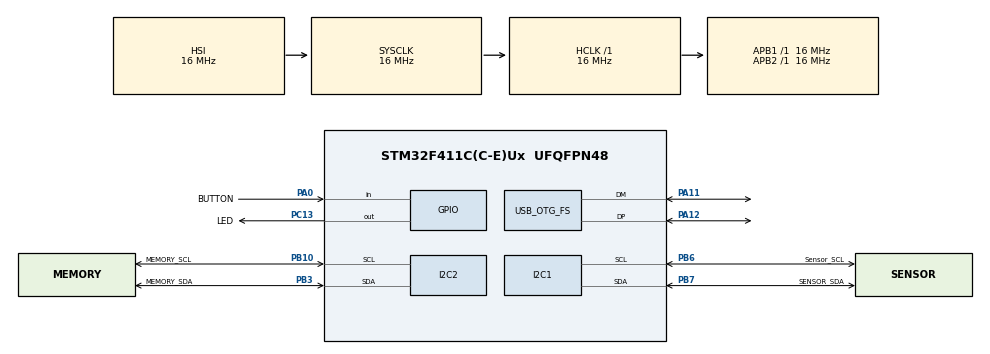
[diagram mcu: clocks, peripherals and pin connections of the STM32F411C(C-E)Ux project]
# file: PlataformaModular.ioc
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FREERTOS.Tasks01=defaultTask,24,1024,StartDefaultTask,Default,NULL,Dynamic,NULL,NULL
IWDG.Prescaler=IWDG_PRESCALER_128
Mcu.Family=STM32F4
Mcu.Name=STM32F411C(C-E)Ux
Mcu.Package=UFQFPN48
NVIC.OTG_FS_IRQn=true\:5\:0\:false\:false\:true\:true\:false\:true\:true
NVIC.PriorityGroup=NVIC_PRIORITYGROUP_4
PA0-WKUP.GPIO_Label=BUTTON
PA0-WKUP.GPIO_PuPd=GPIO_PULLUP
PA0-WKUP.Signal=GPIO_Input
PA11.Mode=Device_Only
PA11.Signal=USB_OTG_FS_DM
PA12.Mode=Device_Only
PA12.Signal=USB_OTG_FS_DP
PA13.Mode=Serial_Wire
PA13.Signal=SYS_JTMS-SWDIO
PA14.Mode=Serial_Wire
PA14.Signal=SYS_JTCK-SWCLK
PB10.GPIO_Label=MEMORY_SCL
PB10.Mode=I2C
PB10.Signal=I2C2_SCL
PB3.GPIO_Label=MEMORY_SDA
PB3.Mode=I2C
PB3.Signal=I2C2_SDA
PB6.GPIO_Label=Sensor_SCL
PB6.Mode=I2C
PB6.Signal=I2C1_SCL
PB7.GPIO_Label=SENSOR_SDA
PB7.Mode=I2C
PB7.Signal=I2C1_SDA
PC13-ANTI_TAMP.GPIO_Label=LED
PC13-ANTI_TAMP.Signal=GPIO_Output
PC14-OSC32_IN.Mode=LSE-External-Oscillator
PC14-OSC32_IN.Signal=RCC_OSC32_IN
PC15-OSC32_OUT.Mode=LSE-External-Oscillator
PC15-OSC32_OUT.Signal=RCC_OSC32_OUT
PH0\ -\ OSC_IN.Mode=HSE-External-Oscillator
PH0\ -\ OSC_IN.Signal=RCC_OSC_IN
PH1\ -\ OSC_OUT.Mode=HSE-External-Oscillator
PH1\ -\ OSC_OUT.Signal=RCC_OSC_OUT
ProjectManager.HeapSize=0x200
ProjectManager.StackSize=0x400
ProjectManager.TargetToolchain=STM32CubeIDE
RCC.48MHZClocksFreq_Value=48000000
RCC.AHBFreq_Value=16000000
RCC.APB1Freq_Value=16000000
RCC.APB2Freq_Value=16000000
RCC.CortexFreq_Value=16000000
RCC.HSE_VALUE=25000000
RCC.HSI_VALUE=16000000
RCC.PLLM=15
RCC.PLLN=144
RCC.PLLQ=5
RCC.RCC_RTC_Clock_Source=RCC_RTCCLKSOURCE_LSE
RCC.RCC_RTC_Clock_SourceVirtual=RCC_RTCCLKSOURCE_LSE
RCC.SYSCLKFreq_VALUE=16000000
RCC.VCOOutputFreq_Value=240000000
USB_DEVICE.CLASS_NAME_FS=CDC
USB_DEVICE.VirtualMode=Cdc
USB_DEVICE.VirtualModeFS=Cdc_FS
USB_OTG_FS.VirtualMode=Device_Only
VP_FREERTOS_VS_CMSIS_V2.Mode=CMSIS_V2
VP_IWDG_VS_IWDG.Mode=IWDG_Activate
VP_RTC_VS_RTC_Activate.Mode=RTC_Enabled
VP_RTC_VS_RTC_Calendar.Mode=RTC_Calendar
VP_USB_DEVICE_VS_USB_DEVICE_CDC_FS.Mode=CDC_FS
board=custom

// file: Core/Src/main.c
/* USER CODE BEGIN Header */
/**
  ******************************************************************************
  * @file           : main.c
  * @brief          : Main program body
  ******************************************************************************
  * @attention
  *
  * Copyright (c) 2026 STMicroelectronics.
  * All rights reserved.
  *
  * This software is licensed under terms that can be found in the LICENSE file
  * in the root directory of this software component.
  * If no LICENSE file comes with this software, it is provided AS-IS.
  *
  ******************************************************************************
  */
/* USER CODE END Header */
#include "main.h"
#include "cmsis_os.h"
#include "usb_device.h"

/* USER CODE BEGIN Includes */
#include "aht20.h"
#include "bmp280.h"
#include "mpu6500.h"
#include "ssd1306.h"
#include "eeprom24lc512.h"
#include "app_state.h"
#include "i2c2_bus_lock.h"
#include "app_tasks.h"
#include "app_watchdog.h"
#include "sensor_registry.h"
#include <stdio.h>
#include <string.h>
#include "usbd_cdc_if.h"
/* USER CODE END Includes */

I2C_HandleTypeDef hi2c1;
I2C_HandleTypeDef hi2c2;

IWDG_HandleTypeDef hiwdg;

RTC_HandleTypeDef hrtc;

/* Definitions for defaultTask */
osThreadId_t defaultTaskHandle;
const osThreadAttr_t defaultTask_attributes = {
  .name = "defaultTask",
  .stack_size = 1024 * 4,
  .priority = (osPriority_t) osPriorityNormal,
};

void SystemClock_Config(void);
static void MX_GPIO_Init(void);
static void MX_I2C1_Init(void);
static void MX_I2C2_Init(void);
static void MX_RTC_Init(void);
static void MX_IWDG_Init(void);
void StartDefaultTask(void *argument);

int main(void)
{

  /* USER CODE BEGIN 1 */
  Watchdog_CaptureResetCause();
  /* USER CODE END 1 */

  /* MCU Configuration--------------------------------------------------------*/

  /* Reset of all peripherals, Initializes the Flash interface and the Systick. */
  HAL_Init();

  /* Configure the system clock */
  SystemClock_Config();

  /* Initialize all configured peripherals */
  MX_GPIO_Init();
  MX_I2C1_Init();
  MX_I2C2_Init();
  MX_RTC_Init();
  MX_IWDG_Init();
  /* USER CODE BEGIN 2 */
  /* O IWDG ja esta rodando: alimenta durante a inicializacao anterior ao kernel. */
  Watchdog_Init();
  (void)HAL_IWDG_Refresh(&hiwdg);
  HAL_Delay(1000);
  (void)HAL_IWDG_Refresh(&hiwdg);
   //HAL_StatusTypeDef erase_status;

   //erase_status = EEPROM24LC512_EraseAll();

   //if (erase_status == HAL_OK)
   //{
       /* Limpeza concluída */
   //}
   //else
   //{
       /* Erro durante a limpeza */
   //}

   /* Recupera o estado da EEPROM */

   if (EEPROM_LoadMetadata() != HAL_OK)
   {
       /* Metadados inválidos: não inicializar sobre dados existentes. */
       eeprom_status_display = 1U;
   }

   /* Detecta e le todos os sensores da tabela (sensor_registry.c). */
   for (uint8_t si = 0U; si < Sensors_Count(); si++)
   {
       (void)HAL_IWDG_Refresh(&hiwdg);
       Sensors_ReadOne(si);
   }
   Sensors_UpdateDisplayValues();

   (void)HAL_IWDG_Refresh(&hiwdg);
   ssd1306_status = SSD1306_Init();
   oled_available = (ssd1306_status == HAL_OK) ? 1U : 0U;
   /*
    * IMPORTANTE: nao executar o teste SerializedRecordRoundTrip automaticamente.
    * Ele escreve em 0x0200 da EEPROM 2, agora parte do armazenamento real.
    * Executar somente manualmente em teste controlado, sem dados importantes.
    */
   // HAL_StatusTypeDef serialized_test_status = EEPROM_Test_SerializedRecordRoundTrip();
   if (oled_available != 0U)
   {
       SSD1306_Clear();
       UpdateDisplaySynchronized();
   }
   (void)HAL_IWDG_Refresh(&hiwdg);
  /* USER CODE END 2 */

  /* Init scheduler */
  osKernelInitialize();

  /* Create the thread(s) */
  /* creation of defaultTask */
  defaultTaskHandle = osThreadNew(StartDefaultTask, NULL, &defaultTask_attributes);

  /* USER CODE BEGIN RTOS_THREADS */
  App_RTOS_Create(); /* mutexes + tasks de sensores e OLED (app_tasks.c) */
  /* USER CODE END RTOS_THREADS */

  /* Start scheduler */
  osKernelStart();

  /* We should never get here as control is now taken by the scheduler */

  /* Infinite loop */
  while (1)
  {

  }
}

void SystemClock_Config(void)
{
  RCC_OscInitTypeDef RCC_OscInitStruct = {0};
  RCC_ClkInitTypeDef RCC_ClkInitStruct = {0};

  /** Configure the main internal regulator output voltage
  */
  __HAL_RCC_PWR_CLK_ENABLE();
  __HAL_PWR_VOLTAGESCALING_CONFIG(PWR_REGULATOR_VOLTAGE_SCALE1);

  /** Initializes the RCC Oscillators according to the specified parameters
  * in the RCC_OscInitTypeDef structure.
  */
  RCC_OscInitStruct.OscillatorType = RCC_OSCILLATORTYPE_HSI|RCC_OSCILLATORTYPE_LSI
                              |RCC_OSCILLATORTYPE_HSE|RCC_OSCILLATORTYPE_LSE;
  RCC_OscInitStruct.HSEState = RCC_HSE_ON;
  RCC_OscInitStruct.LSEState = RCC_LSE_ON;
  RCC_OscInitStruct.HSIState = RCC_HSI_ON;
  RCC_OscInitStruct.HSICalibrationValue = RCC_HSICALIBRATION_DEFAULT;
  RCC_OscInitStruct.LSIState = RCC_LSI_ON;
  RCC_OscInitStruct.PLL.PLLState = RCC_PLL_ON;
  RCC_OscInitStruct.PLL.PLLSource = RCC_PLLSOURCE_HSE;
  RCC_OscInitStruct.PLL.PLLM = 15;
  RCC_OscInitStruct.PLL.PLLN = 144;
  RCC_OscInitStruct.PLL.PLLP = RCC_PLLP_DIV2;
  RCC_OscInitStruct.PLL.PLLQ = 5;
  if (HAL_RCC_OscConfig(&RCC_OscInitStruct) != HAL_OK)
  {
    Error_Handler();
  }

  /** Initializes the CPU, AHB and APB buses clocks
  */
  RCC_ClkInitStruct.ClockType = RCC_CLOCKTYPE_HCLK|RCC_CLOCKTYPE_SYSCLK
                              |RCC_CLOCKTYPE_PCLK1|RCC_CLOCKTYPE_PCLK2;
  RCC_ClkInitStruct.SYSCLKSource = RCC_SYSCLKSOURCE_HSI;
  RCC_ClkInitStruct.AHBCLKDivider = RCC_SYSCLK_DIV1;
  RCC_ClkInitStruct.APB1CLKDivider = RCC_HCLK_DIV1;
  RCC_ClkInitStruct.APB2CLKDivider = RCC_HCLK_DIV1;

  if (HAL_RCC_ClockConfig(&RCC_ClkInitStruct, FLASH_LATENCY_0) != HAL_OK)
  {
    Error_Handler();
  }
}

static void MX_I2C1_Init(void)
{

  hi2c1.Instance = I2C1;
  hi2c1.Init.ClockSpeed = 100000;
  hi2c1.Init.DutyCycle = I2C_DUTYCYCLE_2;
  hi2c1.Init.OwnAddress1 = 0;
  hi2c1.Init.AddressingMode = I2C_ADDRESSINGMODE_7BIT;
  hi2c1.Init.DualAddressMode = I2C_DUALADDRESS_DISABLE;
  hi2c1.Init.OwnAddress2 = 0;
  hi2c1.Init.GeneralCallMode = I2C_GENERALCALL_DISABLE;
  hi2c1.Init.NoStretchMode = I2C_NOSTRETCH_DISABLE;
  if (HAL_I2C_Init(&hi2c1) != HAL_OK)
  {
    Error_Handler();
  }

}

static void MX_I2C2_Init(void)
{

  hi2c2.Instance = I2C2;
  hi2c2.Init.ClockSpeed = 100000;
  hi2c2.Init.DutyCycle = I2C_DUTYCYCLE_2;
  hi2c2.Init.OwnAddress1 = 0;
  hi2c2.Init.AddressingMode = I2C_ADDRESSINGMODE_7BIT;
  hi2c2.Init.DualAddressMode = I2C_DUALADDRESS_DISABLE;
  hi2c2.Init.OwnAddress2 = 0;
  hi2c2.Init.GeneralCallMode = I2C_GENERALCALL_DISABLE;
  hi2c2.Init.NoStretchMode = I2C_NOSTRETCH_DISABLE;
  if (HAL_I2C_Init(&hi2c2) != HAL_OK)
  {
    Error_Handler();
  }

}

static void MX_IWDG_Init(void)
{

  /* USER CODE BEGIN IWDG_Init 1 */
  __HAL_DBGMCU_FREEZE_IWDG(); /* o debugger pausado nao reinicia a placa */
  /* USER CODE END IWDG_Init 1 */
  hiwdg.Instance = IWDG;
  hiwdg.Init.Prescaler = IWDG_PRESCALER_128;
  hiwdg.Init.Reload = 4095;
  if (HAL_IWDG_Init(&hiwdg) != HAL_OK)
  {
    Error_Handler();
  }

}

static void MX_RTC_Init(void)
{

  RTC_TimeTypeDef sTime = {0};
  RTC_DateTypeDef sDate = {0};

  /** Initialize RTC Only
  */
  hrtc.Instance = RTC;
  hrtc.Init.HourFormat = RTC_HOURFORMAT_24;
  hrtc.Init.AsynchPrediv = 127;
  hrtc.Init.SynchPrediv = 255;
  hrtc.Init.OutPut = RTC_OUTPUT_DISABLE;
  hrtc.Init.OutPutPolarity = RTC_OUTPUT_POLARITY_HIGH;
  hrtc.Init.OutPutType = RTC_OUTPUT_TYPE_OPENDRAIN;
  if (HAL_RTC_Init(&hrtc) != HAL_OK)
  {
    Error_Handler();
  }

  /* USER CODE BEGIN Check_RTC_BKUP */
  /* O codigo gerado abaixo ajusta a hora para 2000-01-01 00:00:00. Se o RTC ja foi
   * inicializado (marcador em DR0, mantido pela CR2032 no VBAT), preserva a hora. */
  if (HAL_RTCEx_BKUPRead(&hrtc, RTC_BKP_DR0) == 0x32F2U)
  {
      rtc_time_valid = (HAL_RTCEx_BKUPRead(&hrtc, RTC_BKP_DR1) == 0xA55AU) ? 1U : 0U;
      return;
  }
  /* USER CODE END Check_RTC_BKUP */

  /** Initialize RTC and set the Time and Date
  */
  sTime.Hours = 0x0;
  sTime.Minutes = 0x0;
  sTime.Seconds = 0x0;
  sTime.DayLightSaving = RTC_DAYLIGHTSAVING_NONE;
  sTime.StoreOperation = RTC_STOREOPERATION_RESET;
  if (HAL_RTC_SetTime(&hrtc, &sTime, RTC_FORMAT_BCD) != HAL_OK)
  {
    Error_Handler();
  }
  sDate.WeekDay = RTC_WEEKDAY_MONDAY;
  sDate.Month = RTC_MONTH_JANUARY;
  sDate.Date = 0x1;
  sDate.Year = 0x0;

  if (HAL_RTC_SetDate(&hrtc, &sDate, RTC_FORMAT_BCD) != HAL_OK)
  {
    Error_Handler();
  }
  /* USER CODE BEGIN RTC_Init 2 */
  uint32_t backup_marker = HAL_RTCEx_BKUPRead(&hrtc, RTC_BKP_DR0);

  if (backup_marker != 0x32F2)
  {
      rtc_time_valid = 0;

      RTC_TimeTypeDef initial_time = {0};
      RTC_DateTypeDef initial_date = {0};

      /* Horário inicial: 00:00:00 */
      initial_time.Hours = 0;
      initial_time.Minutes = 0;
      initial_time.Seconds = 0;
      initial_time.DayLightSaving = RTC_DAYLIGHTSAVING_NONE;
      initial_time.StoreOperation = RTC_STOREOPERATION_RESET;

      if (HAL_RTC_SetTime(&hrtc, &initial_time, RTC_FORMAT_BIN) != HAL_OK)
      {
          Error_Handler();
      }

      /* Data inicial: 01/01/2000 */
      initial_date.WeekDay = RTC_WEEKDAY_SATURDAY;
      initial_date.Month = RTC_MONTH_JANUARY;
      initial_date.Date = 1;
      initial_date.Year = 0;

      if (HAL_RTC_SetDate(&hrtc, &initial_date, RTC_FORMAT_BIN) != HAL_OK)
      {
          Error_Handler();
      }

      HAL_RTCEx_BKUPWrite(&hrtc, RTC_BKP_DR0, 0x32F2);
      HAL_RTCEx_BKUPWrite(&hrtc, RTC_BKP_DR1, 0x0000);
  }
  else
  {
      /* DR0 indica que o RTC foi inicializado; DR1 indica hora real configurada. */
      rtc_time_valid = (HAL_RTCEx_BKUPRead(&hrtc, RTC_BKP_DR1) == 0xA55AU) ? 1U : 0U;
  }
  /* USER CODE END RTC_Init 2 */

}

static void MX_GPIO_Init(void)
{
  GPIO_InitTypeDef GPIO_InitStruct = {0};

  /* GPIO Ports Clock Enable */
  __HAL_RCC_GPIOC_CLK_ENABLE();
  __HAL_RCC_GPIOH_CLK_ENABLE();
  __HAL_RCC_GPIOA_CLK_ENABLE();
  __HAL_RCC_GPIOB_CLK_ENABLE();

  /*Configure GPIO pin Output Level */
  HAL_GPIO_WritePin(LED_GPIO_Port, LED_Pin, GPIO_PIN_RESET);

  /*Configure GPIO pin : LED_Pin */
  GPIO_InitStruct.Pin = LED_Pin;
  GPIO_InitStruct.Mode = GPIO_MODE_OUTPUT_PP;
  GPIO_InitStruct.Pull = GPIO_NOPULL;
  GPIO_InitStruct.Speed = GPIO_SPEED_FREQ_LOW;
  HAL_GPIO_Init(LED_GPIO_Port, &GPIO_InitStruct);

  /*Configure GPIO pin : BUTTON_Pin */
  GPIO_InitStruct.Pin = BUTTON_Pin;
  GPIO_InitStruct.Mode = GPIO_MODE_INPUT;
  GPIO_InitStruct.Pull = GPIO_PULLUP;
  HAL_GPIO_Init(BUTTON_GPIO_Port, &GPIO_InitStruct);

}

/* USER CODE BEGIN 4 */
/* A tabela font5x7 pertence ao módulo ssd1306.c. */

/* ============================================================
 *                 EEPROM 24LC512
 * ============================================================ */

/*
 * CRC-16/CCITT-FALSE
 * Polynomial: 0x1021
 * Initial value: 0xFFFF
 * Input/output reflected: no
 * Final XOR: 0x0000
 * Check value for ASCII "123456789": 0x29B1
 *
 * O CRC será aplicado ao registro completo depois que os campos do RTC
 * forem integrados. Por enquanto, esta função é independente e testável.
 */
/* USER CODE END 4 */

void StartDefaultTask(void *argument)
{
  /* init code for USB_DEVICE */
  MX_USB_DEVICE_Init();
  /* USER CODE BEGIN 5 */
  App_CommandTask(argument); /* nao retorna (app_tasks.c) */
  for(;;)
  {
    osDelay(1);
  }
  /* USER CODE END 5 */
}

void Error_Handler(void)
{
  __disable_irq();
  while (1)
  {
  }
}

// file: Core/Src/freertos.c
/* USER CODE BEGIN Header */
/**
  ******************************************************************************
  * File Name          : freertos.c
  * Description        : Code for freertos applications
  ******************************************************************************
  * @attention
  *
  * Copyright (c) 2026 STMicroelectronics.
  * All rights reserved.
  *
  * This software is licensed under terms that can be found in the LICENSE file
  * in the root directory of this software component.
  * If no LICENSE file comes with this software, it is provided AS-IS.
  *
  ******************************************************************************
  */
/* USER CODE END Header */

#include "FreeRTOS.h"
#include "task.h"
#include "main.h"

/* USER CODE BEGIN Includes */
#include "app_config.h"

/* USER CODE END Includes */

/* USER CODE BEGIN Application */

/* Padrao de piscadas do LED (PC13) quando o sistema para por falha detectada:
 *   2 piscadas + pausa = estouro de stack de uma task (nome em diag_overflow_task_name)
 *   3 piscadas + pausa = falha de alocacao no heap do FreeRTOS
 *   4 piscadas + pausa = HardFault (registradores em diag_fault_*)
 * Se o LED simplesmente parar (sem piscar), o sistema NAO caiu em nenhuma dessas falhas. */
/** @brief Nome da tarefa que estourou a pilha (preenchido por vApplicationStackOverflowHook()). */
volatile char diag_overflow_task_name[configMAX_TASK_NAME_LEN + 1U];
volatile uint32_t diag_fault_cfsr, diag_fault_hfsr, diag_fault_bfar, diag_fault_mmfar;  /**< Registradores de falha capturados pelo HardFault_Handler (CFSR, HFSR, BFAR e MMFAR). */
volatile uint32_t diag_fault_pc, diag_fault_lr;  /**< Valores de PC e LR no momento do HardFault. */

/** @brief Espera ocupada de @p n iterações; usada só no padrão de piscadas, com as interrupções desligadas. */
static void Diag_BusyDelay(volatile uint32_t n) { while (n--) { __NOP(); } }

void Diag_FaultBlink(uint8_t blinks)
{
    __disable_irq();
    /* V10: grava o motivo no registrador de backup (sobrevive ao reset). Sem ninguem
     * alimentando o IWDG, a placa reinicia sozinha em 11 a 31 s. Codigo lido no boot. */
    RTC->BKP2R = (uint32_t)(0xFA00U | blinks);
    for (;;)
    {
        for (uint8_t i = 0U; i < blinks; i++)
        {
            HAL_GPIO_WritePin(LED_GPIO_Port, LED_Pin, GPIO_PIN_RESET);
            Diag_BusyDelay(4000000UL);
            HAL_GPIO_WritePin(LED_GPIO_Port, LED_Pin, GPIO_PIN_SET);
            Diag_BusyDelay(4000000UL);
        }
        Diag_BusyDelay(24000000UL);
    }
}

/**
 * @brief Gancho do FreeRTOS chamado no estouro de pilha de uma tarefa.
 *
 * Guarda o nome da tarefa em `diag_overflow_task_name` e para o sistema com 2 piscadas do LED.
 * @param[in] xTask      Tarefa que estourou a pilha (não usada).
 * @param[in] pcTaskName Nome da tarefa.
 */
void vApplicationStackOverflowHook(TaskHandle_t xTask, char *pcTaskName)
{
    (void)xTask;
    for (uint32_t i = 0U; i < configMAX_TASK_NAME_LEN; i++)
    {
        diag_overflow_task_name[i] = (pcTaskName != NULL) ? pcTaskName[i] : '?';
        if ((pcTaskName == NULL) || (pcTaskName[i] == '\0')) break;
    }
    Diag_FaultBlink(2U);
}

#if ENABLE_IDLE_WFI
/* Tarefa ociosa: o nucleo dorme ate a proxima interrupcao (SysTick, USB...). */
/** @brief Gancho da tarefa ociosa: o núcleo dorme (`WFI`) até a próxima interrupção, para economizar energia. */
void vApplicationIdleHook(void)
{
    __WFI();
}
#endif

/** @brief Gancho do FreeRTOS chamado em falha de alocação no heap: para o sistema com 3 piscadas do LED. */
void vApplicationMallocFailedHook(void)
{
    Diag_FaultBlink(3U);
}

/* USER CODE END Application */
